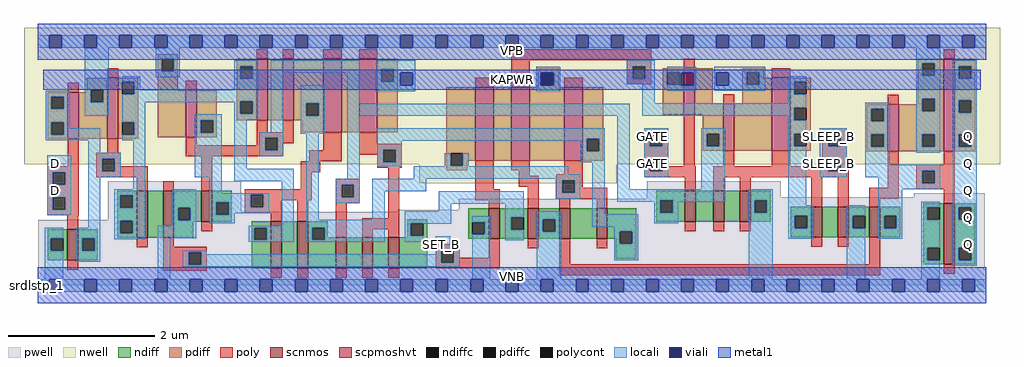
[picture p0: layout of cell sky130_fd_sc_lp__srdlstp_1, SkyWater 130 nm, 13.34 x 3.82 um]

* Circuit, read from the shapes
.subckt sky130_fd_sc_lp__srdlstp_1 D GATE SET_B SLEEP_B KAPWR VGND VNB VPB VPWR Q
XM1 n1 D VGND VNB sky130_fd_pr__nfet_01v8 w=0.42 l=0.15
XM2 n2 n1 n3 VNB sky130_fd_pr__nfet_01v8 w=0.64 l=0.15
XM3 VGND SET_B n2 VNB sky130_fd_pr__nfet_01v8 w=0.64 l=0.15
XM4 n4 n5 VGND VNB sky130_fd_pr__nfet_01v8 w=0.42 l=0.15
XM5 n6 n4 n3 VNB sky130_fd_pr__nfet_01v8 w=0.64 l=0.15
XM6 n7 n4 n6 VNB sky130_fd_pr__nfet_01v8 w=0.64 l=0.15
XM7 n8 n5 n7 VNB sky130_fd_pr__nfet_01v8 w=0.42 l=0.15
XM8 n9 n10 n8 VNB sky130_fd_pr__nfet_01v8 w=0.42 l=0.15
XM9 n11 n10 n9 VNB sky130_fd_pr__nfet_01v8 w=0.42 l=0.15
XM10 n11 SET_B VGND VNB sky130_fd_pr__nfet_01v8 w=0.42 l=0.15
XM11 VGND n12 n11 VNB sky130_fd_pr__nfet_01v8 w=0.42 l=0.15
XM12 n13 n7 VGND VNB sky130_fd_pr__nfet_01v8 w=0.42 l=0.15
XM13 n10 n7 n13 VNB sky130_fd_pr__nfet_01v8 w=0.42 l=0.15
XM14 n14 GATE n5 VNB sky130_fd_pr__nfet_01v8 w=0.42 l=0.15
XM15 n15 SLEEP_B n14 VNB sky130_fd_pr__nfet_01v8 w=0.42 l=0.15
XM16 VGND SLEEP_B n15 VNB sky130_fd_pr__nfet_01v8 w=0.42 l=0.15
XM17 n16 SLEEP_B n12 VNB sky130_fd_pr__nfet_01v8 w=0.42 l=0.15
XM18 VGND SLEEP_B n16 VNB sky130_fd_pr__nfet_01v8 w=0.42 l=0.15
XM19 n17 n7 VGND VNB sky130_fd_pr__nfet_01v8 w=0.42 l=0.15
XM20 Q n17 VGND VNB sky130_fd_pr__nfet_01v8 w=0.84 l=0.15
XM21 VPWR D n1 VPB sky130_fd_pr__pfet_01v8_hvt w=0.64 l=0.15
XM22 n3 n1 VPWR VPB sky130_fd_pr__pfet_01v8_hvt w=0.84 l=0.15
XM23 n4 n5 VPWR VPB sky130_fd_pr__pfet_01v8_hvt w=0.64 l=0.15
XM24 n18 n5 n3 VPB sky130_fd_pr__pfet_01v8_hvt w=0.84 l=0.15
XM25 n7 n5 n18 VPB sky130_fd_pr__pfet_01v8_hvt w=0.84 l=0.15
XM26 n19 n4 n7 VPB sky130_fd_pr__pfet_01v8_hvt w=1 l=0.25
XM27 KAPWR n10 n19 VPB sky130_fd_pr__pfet_01v8_hvt w=1 l=0.25
XM28 n20 SET_B n7 VPB sky130_fd_pr__pfet_01v8_hvt w=1 l=0.25
XM29 KAPWR n12 n20 VPB sky130_fd_pr__pfet_01v8_hvt w=1 l=0.25
XM30 n10 n7 KAPWR VPB sky130_fd_pr__pfet_01v8_hvt w=1 l=0.25
XM31 n5 GATE KAPWR VPB sky130_fd_pr__pfet_01v8_hvt w=0.64 l=0.15
XM32 KAPWR SLEEP_B n5 VPB sky130_fd_pr__pfet_01v8_hvt w=0.64 l=0.15
XM33 n12 SLEEP_B KAPWR VPB sky130_fd_pr__pfet_01v8_hvt w=1 l=0.25
XM34 VPWR n7 n17 VPB sky130_fd_pr__pfet_01v8_hvt w=0.64 l=0.15
XM35 Q n17 VPWR VPB sky130_fd_pr__pfet_01v8_hvt w=1.26 l=0.15
.ends

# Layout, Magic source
magic
tech sky130A
magscale 1 2
<< nwell >>
rect -38 331 2630 704
rect 1042 279 1582 331
<< pwell >>
rect 191 201 556 284
rect 1664 241 2030 284
rect 2394 241 2588 251
rect 1664 237 2588 241
rect 1151 207 2588 237
rect 984 201 2588 207
rect 191 179 2588 201
rect 1 49 2588 179
rect 0 0 2592 49
<< scnmos >>
rect 80 69 110 153
rect 270 130 300 258
rect 342 130 372 258
rect 447 174 477 258
rect 637 47 667 175
rect 709 47 739 175
rect 814 47 844 131
rect 886 47 916 131
rect 958 47 988 131
rect 1232 127 1262 211
rect 1339 127 1369 211
rect 1425 127 1455 211
rect 1527 127 1557 211
rect 1768 174 1798 258
rect 1846 174 1876 258
rect 1918 174 1948 258
rect 2114 131 2144 215
rect 2186 131 2216 215
rect 2272 131 2302 215
rect 2476 57 2506 225
<< scpmoshvt >>
rect 82 400 112 528
rect 189 400 219 568
rect 404 405 434 533
rect 598 451 628 619
rect 670 451 700 619
rect 780 419 830 619
rect 878 419 928 619
rect 1196 341 1246 541
rect 1294 341 1344 541
rect 1439 341 1489 541
rect 1765 466 1795 594
rect 1874 368 1904 496
rect 2006 368 2056 568
rect 2323 367 2353 495
rect 2476 367 2506 619
<< ndiff >>
rect 217 246 270 258
rect 217 212 225 246
rect 259 212 270 246
rect 217 176 270 212
rect 27 128 80 153
rect 27 94 35 128
rect 69 94 80 128
rect 27 69 80 94
rect 110 128 163 153
rect 217 142 225 176
rect 259 142 270 176
rect 217 130 270 142
rect 300 130 342 258
rect 372 212 447 258
rect 372 178 383 212
rect 417 178 447 212
rect 372 174 447 178
rect 477 227 530 258
rect 477 193 488 227
rect 522 193 530 227
rect 477 174 530 193
rect 372 130 425 174
rect 584 158 637 175
rect 110 94 121 128
rect 155 94 163 128
rect 584 124 592 158
rect 626 124 637 158
rect 110 69 163 94
rect 584 47 637 124
rect 667 47 709 175
rect 739 158 792 175
rect 739 124 750 158
rect 784 131 792 158
rect 1690 233 1768 258
rect 1010 169 1065 181
rect 1010 135 1019 169
rect 1053 135 1065 169
rect 1010 131 1065 135
rect 784 124 814 131
rect 739 47 814 124
rect 844 47 886 131
rect 916 47 958 131
rect 988 47 1065 131
rect 1177 173 1232 211
rect 1177 139 1187 173
rect 1221 139 1232 173
rect 1177 127 1232 139
rect 1262 186 1339 211
rect 1262 152 1294 186
rect 1328 152 1339 186
rect 1262 127 1339 152
rect 1369 180 1425 211
rect 1369 146 1380 180
rect 1414 146 1425 180
rect 1369 127 1425 146
rect 1455 127 1527 211
rect 1557 148 1636 211
rect 1690 199 1701 233
rect 1735 199 1768 233
rect 1690 174 1768 199
rect 1798 174 1846 258
rect 1876 174 1918 258
rect 1948 233 2004 258
rect 1948 199 1959 233
rect 1993 199 2004 233
rect 1948 174 2004 199
rect 2058 190 2114 215
rect 2058 156 2069 190
rect 2103 156 2114 190
rect 1557 127 1591 148
rect 1579 114 1591 127
rect 1625 114 1636 148
rect 2058 131 2114 156
rect 2144 131 2186 215
rect 2216 190 2272 215
rect 2216 156 2227 190
rect 2261 156 2272 190
rect 2216 131 2272 156
rect 2302 190 2358 215
rect 2302 156 2313 190
rect 2347 156 2358 190
rect 2302 131 2358 156
rect 2420 213 2476 225
rect 2420 179 2431 213
rect 2465 179 2476 213
rect 1579 72 1636 114
rect 2420 103 2476 179
rect 2420 69 2431 103
rect 2465 69 2476 103
rect 2420 57 2476 69
rect 2506 213 2562 225
rect 2506 179 2517 213
rect 2551 179 2562 213
rect 2506 103 2562 179
rect 2506 69 2517 103
rect 2551 69 2562 103
rect 2506 57 2562 69
<< pdiff >>
rect 328 619 382 631
rect 328 585 338 619
rect 372 585 382 619
rect 134 535 189 568
rect 134 528 144 535
rect 27 516 82 528
rect 27 482 37 516
rect 71 482 82 516
rect 27 446 82 482
rect 27 412 37 446
rect 71 412 82 446
rect 27 400 82 412
rect 112 501 144 528
rect 178 501 189 535
rect 112 400 189 501
rect 219 556 274 568
rect 219 522 230 556
rect 264 522 274 556
rect 219 446 274 522
rect 219 412 230 446
rect 264 412 274 446
rect 219 400 274 412
rect 328 533 382 585
rect 543 599 598 619
rect 543 565 553 599
rect 587 565 598 599
rect 328 405 404 533
rect 434 451 489 533
rect 543 503 598 565
rect 543 469 553 503
rect 587 469 598 503
rect 543 451 598 469
rect 628 451 670 619
rect 700 498 780 619
rect 700 464 734 498
rect 768 464 780 498
rect 700 451 780 464
rect 434 417 445 451
rect 479 417 489 451
rect 434 405 489 417
rect 722 419 780 451
rect 830 419 878 619
rect 928 590 984 619
rect 928 556 939 590
rect 973 556 984 590
rect 928 419 984 556
rect 1366 581 1424 593
rect 1366 547 1378 581
rect 1412 547 1424 581
rect 1366 541 1424 547
rect 2405 607 2476 619
rect 1708 582 1765 594
rect 1708 548 1720 582
rect 1754 548 1765 582
rect 1116 361 1196 541
rect 1116 327 1128 361
rect 1162 341 1196 361
rect 1246 341 1294 541
rect 1344 341 1439 541
rect 1489 400 1546 541
rect 1708 466 1765 548
rect 1795 496 1845 594
rect 1926 582 1984 594
rect 1926 548 1938 582
rect 1972 568 1984 582
rect 2405 573 2417 607
rect 2451 573 2476 607
rect 1972 548 2006 568
rect 1926 496 2006 548
rect 1795 466 1874 496
rect 1489 366 1500 400
rect 1534 366 1546 400
rect 1489 341 1546 366
rect 1162 327 1174 341
rect 1116 315 1174 327
rect 1817 414 1874 466
rect 1817 380 1829 414
rect 1863 380 1874 414
rect 1817 368 1874 380
rect 1904 368 2006 496
rect 2056 556 2113 568
rect 2056 522 2067 556
rect 2101 522 2113 556
rect 2056 485 2113 522
rect 2405 510 2476 573
rect 2405 495 2417 510
rect 2056 451 2067 485
rect 2101 451 2113 485
rect 2056 414 2113 451
rect 2266 483 2323 495
rect 2266 449 2278 483
rect 2312 449 2323 483
rect 2056 380 2067 414
rect 2101 380 2113 414
rect 2056 368 2113 380
rect 2266 413 2323 449
rect 2266 379 2278 413
rect 2312 379 2323 413
rect 2266 367 2323 379
rect 2353 476 2417 495
rect 2451 476 2476 510
rect 2353 413 2476 476
rect 2353 379 2417 413
rect 2451 379 2476 413
rect 2353 367 2476 379
rect 2506 599 2563 619
rect 2506 565 2517 599
rect 2551 565 2563 599
rect 2506 506 2563 565
rect 2506 472 2517 506
rect 2551 472 2563 506
rect 2506 413 2563 472
rect 2506 379 2517 413
rect 2551 379 2563 413
rect 2506 367 2563 379
<< ndiffc >>
rect 225 212 259 246
rect 35 94 69 128
rect 225 142 259 176
rect 383 178 417 212
rect 488 193 522 227
rect 121 94 155 128
rect 592 124 626 158
rect 750 124 784 158
rect 1019 135 1053 169
rect 1187 139 1221 173
rect 1294 152 1328 186
rect 1380 146 1414 180
rect 1701 199 1735 233
rect 1959 199 1993 233
rect 2069 156 2103 190
rect 1591 114 1625 148
rect 2227 156 2261 190
rect 2313 156 2347 190
rect 2431 179 2465 213
rect 2431 69 2465 103
rect 2517 179 2551 213
rect 2517 69 2551 103
<< pdiffc >>
rect 338 585 372 619
rect 37 482 71 516
rect 37 412 71 446
rect 144 501 178 535
rect 230 522 264 556
rect 230 412 264 446
rect 553 565 587 599
rect 553 469 587 503
rect 734 464 768 498
rect 445 417 479 451
rect 939 556 973 590
rect 1378 547 1412 581
rect 1720 548 1754 582
rect 1128 327 1162 361
rect 1938 548 1972 582
rect 2417 573 2451 607
rect 1500 366 1534 400
rect 1829 380 1863 414
rect 2067 522 2101 556
rect 2067 451 2101 485
rect 2278 449 2312 483
rect 2067 380 2101 414
rect 2278 379 2312 413
rect 2417 476 2451 510
rect 2417 379 2451 413
rect 2517 565 2551 599
rect 2517 472 2551 506
rect 2517 379 2551 413
<< poly >>
rect 598 619 628 645
rect 670 619 700 645
rect 780 619 830 645
rect 878 619 928 645
rect 189 568 219 594
rect 82 528 112 554
rect 404 533 434 559
rect 598 419 628 451
rect 670 419 700 451
rect 1294 615 1676 645
rect 1196 541 1246 567
rect 1294 541 1344 615
rect 1610 599 1676 615
rect 1439 541 1489 567
rect 1610 565 1626 599
rect 1660 565 1676 599
rect 1765 594 1795 620
rect 2476 619 2506 645
rect 1610 549 1676 565
rect 82 325 112 400
rect 189 362 219 400
rect 404 383 434 405
rect 598 403 700 419
rect 598 383 621 403
rect 404 369 621 383
rect 655 389 700 403
rect 655 369 671 389
rect 780 369 830 419
rect 25 309 112 325
rect 25 275 41 309
rect 75 275 112 309
rect 160 346 226 362
rect 404 353 671 369
rect 160 312 176 346
rect 210 326 226 346
rect 210 312 300 326
rect 160 296 300 312
rect 25 241 112 275
rect 270 258 300 296
rect 342 258 372 284
rect 447 258 477 353
rect 742 339 830 369
rect 878 387 928 419
rect 878 371 994 387
rect 878 357 944 371
rect 719 309 772 339
rect 928 337 944 357
rect 978 337 994 371
rect 928 321 994 337
rect 2006 568 2056 594
rect 1874 496 1904 522
rect 1657 414 1723 430
rect 1657 380 1673 414
rect 1707 380 1723 414
rect 1657 346 1723 380
rect 719 263 749 309
rect 25 207 41 241
rect 75 207 112 241
rect 25 191 112 207
rect 80 153 110 191
rect 566 247 749 263
rect 566 213 582 247
rect 616 233 749 247
rect 814 275 880 291
rect 814 241 830 275
rect 864 241 880 275
rect 616 213 667 233
rect 566 197 667 213
rect 637 175 667 197
rect 709 175 739 233
rect 814 225 880 241
rect 447 148 477 174
rect 270 104 300 130
rect 342 106 372 130
rect 342 90 462 106
rect 80 43 110 69
rect 342 56 412 90
rect 446 56 462 90
rect 342 40 462 56
rect 814 131 844 225
rect 958 183 988 321
rect 1196 263 1246 341
rect 1294 315 1344 341
rect 1314 299 1344 315
rect 1439 303 1489 341
rect 1314 269 1369 299
rect 1196 233 1262 263
rect 1232 211 1262 233
rect 1339 211 1369 269
rect 1417 287 1489 303
rect 1657 312 1673 346
rect 1707 326 1723 346
rect 1765 326 1795 466
rect 2323 495 2353 521
rect 2144 414 2211 430
rect 2144 380 2161 414
rect 2195 380 2211 414
rect 1874 326 1904 368
rect 2006 326 2056 368
rect 2144 346 2211 380
rect 2144 326 2161 346
rect 1707 312 1798 326
rect 1657 296 1798 312
rect 1417 253 1433 287
rect 1467 267 1489 287
rect 1467 253 1557 267
rect 1768 258 1798 296
rect 1846 312 2161 326
rect 2195 326 2211 346
rect 2195 312 2216 326
rect 1846 296 2216 312
rect 1846 258 1876 296
rect 1918 258 1948 296
rect 1417 237 1557 253
rect 1425 211 1455 237
rect 1527 211 1557 237
rect 886 153 988 183
rect 886 131 916 153
rect 958 131 988 153
rect 2114 215 2144 296
rect 2186 215 2216 296
rect 2323 267 2353 367
rect 2476 329 2506 367
rect 2272 237 2353 267
rect 2401 313 2506 329
rect 2401 279 2417 313
rect 2451 279 2506 313
rect 2401 263 2506 279
rect 2272 215 2302 237
rect 2476 225 2506 263
rect 1768 148 1798 174
rect 1846 148 1876 174
rect 1918 148 1948 174
rect 1087 96 1153 112
rect 1087 62 1103 96
rect 1137 76 1153 96
rect 1232 76 1262 127
rect 1339 101 1369 127
rect 1137 62 1262 76
rect 637 21 667 47
rect 709 21 739 47
rect 814 21 844 47
rect 886 21 916 47
rect 958 21 988 47
rect 1087 46 1262 62
rect 1425 57 1455 127
rect 1527 101 1557 127
rect 2114 105 2144 131
rect 2186 105 2216 131
rect 2272 57 2302 131
rect 1425 27 2302 57
rect 2476 31 2506 57
<< polycont >>
rect 1626 565 1660 599
rect 621 369 655 403
rect 41 275 75 309
rect 176 312 210 346
rect 944 337 978 371
rect 1673 380 1707 414
rect 41 207 75 241
rect 582 213 616 247
rect 830 241 864 275
rect 412 56 446 90
rect 1673 312 1707 346
rect 2161 380 2195 414
rect 1433 253 1467 287
rect 2161 312 2195 346
rect 2417 279 2451 313
rect 1103 62 1137 96
<< locali >>
rect 0 649 31 683
rect 65 649 127 683
rect 161 649 223 683
rect 257 649 319 683
rect 353 649 415 683
rect 449 649 511 683
rect 545 649 607 683
rect 641 649 703 683
rect 737 649 799 683
rect 833 649 895 683
rect 929 649 991 683
rect 1025 649 1087 683
rect 1121 649 1183 683
rect 1217 649 1279 683
rect 1313 649 1375 683
rect 1409 649 1471 683
rect 1505 649 1567 683
rect 1601 649 1663 683
rect 1697 649 1759 683
rect 1793 649 1855 683
rect 1889 649 1951 683
rect 1985 649 2047 683
rect 2081 649 2143 683
rect 2177 649 2239 683
rect 2273 649 2335 683
rect 2369 649 2431 683
rect 2465 649 2527 683
rect 2561 649 2592 683
rect 128 535 194 649
rect 322 619 388 649
rect 322 585 338 619
rect 372 585 388 619
rect 21 516 87 532
rect 21 482 37 516
rect 71 482 87 516
rect 21 446 87 482
rect 128 501 144 535
rect 178 501 194 535
rect 128 464 194 501
rect 230 556 280 572
rect 322 569 388 585
rect 537 599 603 615
rect 264 535 280 556
rect 537 565 553 599
rect 587 565 603 599
rect 537 535 603 565
rect 264 522 603 535
rect 230 503 603 522
rect 230 501 553 503
rect 21 412 37 446
rect 71 430 87 446
rect 230 446 294 501
rect 537 469 553 501
rect 587 469 603 503
rect 71 412 171 430
rect 21 396 171 412
rect 264 412 294 446
rect 230 396 294 412
rect 137 362 171 396
rect 25 309 91 356
rect 25 275 41 309
rect 75 275 91 309
rect 25 241 91 275
rect 25 207 41 241
rect 75 207 91 241
rect 25 191 91 207
rect 137 346 226 362
rect 137 312 176 346
rect 210 312 226 346
rect 137 296 226 312
rect 137 157 171 296
rect 260 262 294 396
rect 429 451 503 467
rect 429 417 445 451
rect 479 417 503 451
rect 429 296 503 417
rect 19 128 69 157
rect 19 94 35 128
rect 19 17 69 94
rect 105 128 171 157
rect 105 94 121 128
rect 155 94 171 128
rect 209 246 294 262
rect 209 212 225 246
rect 259 212 294 246
rect 209 176 294 212
rect 209 142 225 176
rect 259 142 294 176
rect 367 212 433 262
rect 367 178 383 212
rect 417 178 433 212
rect 367 163 433 178
rect 469 251 503 296
rect 537 453 603 469
rect 637 581 880 615
rect 537 319 571 453
rect 637 419 671 581
rect 605 403 671 419
rect 718 498 784 547
rect 718 464 734 498
rect 768 464 784 498
rect 718 415 784 464
rect 846 497 880 581
rect 923 590 1031 615
rect 1610 599 1686 615
rect 923 556 939 590
rect 973 581 1031 590
rect 973 556 991 581
rect 923 547 991 556
rect 1025 547 1031 581
rect 923 531 1031 547
rect 1362 581 1428 597
rect 1362 547 1375 581
rect 1412 547 1428 581
rect 1610 565 1626 599
rect 1660 565 1686 599
rect 2401 607 2467 649
rect 1610 549 1686 565
rect 1362 531 1428 547
rect 1652 498 1686 549
rect 1720 582 1799 598
rect 1754 581 1799 582
rect 1754 548 1759 581
rect 1720 547 1759 548
rect 1793 547 1799 581
rect 1720 532 1799 547
rect 1849 582 1988 598
rect 1849 581 1938 582
rect 1849 547 1855 581
rect 1889 548 1938 581
rect 1972 548 1988 582
rect 2401 573 2417 607
rect 2451 573 2467 607
rect 1889 547 1988 548
rect 1849 532 1988 547
rect 2051 556 2101 572
rect 2051 522 2067 556
rect 2051 498 2101 522
rect 2401 510 2467 573
rect 846 463 1618 497
rect 1652 485 2101 498
rect 1652 464 2067 485
rect 605 369 621 403
rect 655 369 671 403
rect 605 353 671 369
rect 537 285 700 319
rect 469 247 632 251
rect 469 227 582 247
rect 469 193 488 227
rect 522 213 582 227
rect 616 213 632 247
rect 522 197 632 213
rect 522 193 538 197
rect 469 170 538 193
rect 666 163 700 285
rect 209 126 294 142
rect 328 129 433 163
rect 576 158 700 163
rect 105 65 171 94
rect 328 17 362 129
rect 576 124 592 158
rect 626 124 700 158
rect 576 119 700 124
rect 734 179 768 415
rect 846 291 880 463
rect 928 400 1550 429
rect 928 395 1500 400
rect 928 371 994 395
rect 928 337 944 371
rect 978 337 994 371
rect 1484 366 1500 395
rect 1534 366 1550 400
rect 928 325 994 337
rect 1112 327 1128 361
rect 1162 327 1178 361
rect 1484 337 1550 366
rect 1112 325 1178 327
rect 1028 303 1450 325
rect 1028 291 1482 303
rect 814 275 880 291
rect 814 241 830 275
rect 864 241 880 275
rect 814 225 880 241
rect 914 257 1062 291
rect 1416 287 1482 291
rect 914 179 948 257
rect 1096 223 1328 257
rect 1416 253 1433 287
rect 1467 253 1482 287
rect 1416 237 1482 253
rect 1096 202 1130 223
rect 734 158 948 179
rect 734 124 750 158
rect 784 124 948 158
rect 734 119 948 124
rect 1003 169 1130 202
rect 1003 135 1019 169
rect 1053 168 1130 169
rect 1187 173 1237 189
rect 1003 119 1053 135
rect 1221 139 1237 173
rect 1087 112 1127 134
rect 1087 96 1153 112
rect 396 90 462 95
rect 396 56 412 90
rect 446 85 462 90
rect 1087 85 1103 96
rect 446 62 1103 85
rect 1137 62 1153 96
rect 446 56 1153 62
rect 396 51 1153 56
rect 1187 17 1237 139
rect 1278 186 1328 223
rect 1278 152 1294 186
rect 1278 123 1328 152
rect 1364 180 1430 203
rect 1364 146 1380 180
rect 1414 146 1430 180
rect 1516 194 1550 337
rect 1584 262 1618 463
rect 2051 451 2067 464
rect 1657 414 1723 430
rect 1657 380 1673 414
rect 1707 380 1723 414
rect 1657 346 1723 380
rect 1657 312 1673 346
rect 1707 312 1723 346
rect 1657 296 1723 312
rect 1813 414 1879 430
rect 1813 380 1829 414
rect 1863 380 1879 414
rect 1813 262 1879 380
rect 2051 414 2101 451
rect 2262 483 2328 499
rect 2262 449 2278 483
rect 2312 449 2328 483
rect 2051 380 2067 414
rect 1584 233 1879 262
rect 1584 228 1701 233
rect 1685 199 1701 228
rect 1735 228 1879 233
rect 1943 233 2009 262
rect 1735 199 1751 228
rect 1516 160 1641 194
rect 1685 170 1751 199
rect 1943 199 1959 233
rect 1993 199 2009 233
rect 1364 17 1430 146
rect 1575 148 1641 160
rect 1575 114 1591 148
rect 1625 114 1641 148
rect 1575 68 1641 114
rect 1943 17 2009 199
rect 2051 219 2101 380
rect 2137 414 2211 430
rect 2137 380 2161 414
rect 2195 380 2211 414
rect 2137 346 2211 380
rect 2137 312 2161 346
rect 2195 312 2211 346
rect 2137 296 2211 312
rect 2262 413 2328 449
rect 2262 379 2278 413
rect 2312 379 2328 413
rect 2262 329 2328 379
rect 2401 476 2417 510
rect 2451 476 2467 510
rect 2401 413 2467 476
rect 2401 379 2417 413
rect 2451 379 2467 413
rect 2401 363 2467 379
rect 2501 599 2567 615
rect 2501 565 2517 599
rect 2551 565 2567 599
rect 2501 506 2567 565
rect 2501 472 2517 506
rect 2551 472 2567 506
rect 2501 413 2567 472
rect 2501 379 2517 413
rect 2551 379 2567 413
rect 2262 313 2467 329
rect 2262 295 2417 313
rect 2297 279 2417 295
rect 2451 279 2467 313
rect 2297 263 2467 279
rect 2051 190 2119 219
rect 2051 156 2069 190
rect 2103 156 2119 190
rect 2051 127 2119 156
rect 2211 190 2261 219
rect 2211 156 2227 190
rect 2211 17 2261 156
rect 2297 190 2363 263
rect 2297 156 2313 190
rect 2347 156 2363 190
rect 2297 127 2363 156
rect 2415 213 2465 229
rect 2415 179 2431 213
rect 2415 103 2465 179
rect 2415 69 2431 103
rect 2415 17 2465 69
rect 2501 213 2567 379
rect 2501 179 2517 213
rect 2551 179 2567 213
rect 2501 103 2567 179
rect 2501 69 2517 103
rect 2551 69 2567 103
rect 2501 53 2567 69
rect 0 -17 31 17
rect 65 -17 127 17
rect 161 -17 223 17
rect 257 -17 319 17
rect 353 -17 415 17
rect 449 -17 511 17
rect 545 -17 607 17
rect 641 -17 703 17
rect 737 -17 799 17
rect 833 -17 895 17
rect 929 -17 991 17
rect 1025 -17 1087 17
rect 1121 -17 1183 17
rect 1217 -17 1279 17
rect 1313 -17 1375 17
rect 1409 -17 1471 17
rect 1505 -17 1567 17
rect 1601 -17 1663 17
rect 1697 -17 1759 17
rect 1793 -17 1855 17
rect 1889 -17 1951 17
rect 1985 -17 2047 17
rect 2081 -17 2143 17
rect 2177 -17 2239 17
rect 2273 -17 2335 17
rect 2369 -17 2431 17
rect 2465 -17 2527 17
rect 2561 -17 2592 17
<< viali >>
rect 31 649 65 683
rect 127 649 161 683
rect 223 649 257 683
rect 319 649 353 683
rect 415 649 449 683
rect 511 649 545 683
rect 607 649 641 683
rect 703 649 737 683
rect 799 649 833 683
rect 895 649 929 683
rect 991 649 1025 683
rect 1087 649 1121 683
rect 1183 649 1217 683
rect 1279 649 1313 683
rect 1375 649 1409 683
rect 1471 649 1505 683
rect 1567 649 1601 683
rect 1663 649 1697 683
rect 1759 649 1793 683
rect 1855 649 1889 683
rect 1951 649 1985 683
rect 2047 649 2081 683
rect 2143 649 2177 683
rect 2239 649 2273 683
rect 2335 649 2369 683
rect 2431 649 2465 683
rect 2527 649 2561 683
rect 991 547 1025 581
rect 1375 547 1378 581
rect 1378 547 1409 581
rect 1759 547 1793 581
rect 1855 547 1889 581
rect 31 -17 65 17
rect 127 -17 161 17
rect 223 -17 257 17
rect 319 -17 353 17
rect 415 -17 449 17
rect 511 -17 545 17
rect 607 -17 641 17
rect 703 -17 737 17
rect 799 -17 833 17
rect 895 -17 929 17
rect 991 -17 1025 17
rect 1087 -17 1121 17
rect 1183 -17 1217 17
rect 1279 -17 1313 17
rect 1375 -17 1409 17
rect 1471 -17 1505 17
rect 1567 -17 1601 17
rect 1663 -17 1697 17
rect 1759 -17 1793 17
rect 1855 -17 1889 17
rect 1951 -17 1985 17
rect 2047 -17 2081 17
rect 2143 -17 2177 17
rect 2239 -17 2273 17
rect 2335 -17 2369 17
rect 2431 -17 2465 17
rect 2527 -17 2561 17
<< metal1 >>
rect 0 683 2592 715
rect 0 649 31 683
rect 65 649 127 683
rect 161 649 223 683
rect 257 649 319 683
rect 353 649 415 683
rect 449 649 511 683
rect 545 649 607 683
rect 641 649 703 683
rect 737 649 799 683
rect 833 649 895 683
rect 929 649 991 683
rect 1025 649 1087 683
rect 1121 649 1183 683
rect 1217 649 1279 683
rect 1313 649 1375 683
rect 1409 649 1471 683
rect 1505 649 1567 683
rect 1601 649 1663 683
rect 1697 649 1759 683
rect 1793 649 1855 683
rect 1889 649 1951 683
rect 1985 649 2047 683
rect 2081 649 2143 683
rect 2177 649 2239 683
rect 2273 649 2335 683
rect 2369 649 2431 683
rect 2465 649 2527 683
rect 2561 649 2592 683
rect 0 617 2592 649
rect 14 581 2578 589
rect 14 547 991 581
rect 1025 547 1375 581
rect 1409 547 1759 581
rect 1793 547 1855 581
rect 1889 547 2578 581
rect 14 535 2578 547
rect 0 17 2592 49
rect 0 -17 31 17
rect 65 -17 127 17
rect 161 -17 223 17
rect 257 -17 319 17
rect 353 -17 415 17
rect 449 -17 511 17
rect 545 -17 607 17
rect 641 -17 703 17
rect 737 -17 799 17
rect 833 -17 895 17
rect 929 -17 991 17
rect 1025 -17 1087 17
rect 1121 -17 1183 17
rect 1217 -17 1279 17
rect 1313 -17 1375 17
rect 1409 -17 1471 17
rect 1505 -17 1567 17
rect 1601 -17 1663 17
rect 1697 -17 1759 17
rect 1793 -17 1855 17
rect 1889 -17 1951 17
rect 1985 -17 2047 17
rect 2081 -17 2143 17
rect 2177 -17 2239 17
rect 2273 -17 2335 17
rect 2369 -17 2431 17
rect 2465 -17 2527 17
rect 2561 -17 2592 17
rect 0 -49 2592 -17
<< labels >>
flabel pwell s 0 0 2592 49 0 FreeSans 200 0 0 0 VNB
port 7 nsew ground bidirectional
flabel nwell s 0 617 2592 666 0 FreeSans 200 0 0 0 VPB
port 8 nsew power bidirectional
rlabel comment s 0 0 0 0 4 srdlstp_1
flabel metal1 s 14 535 2578 589 0 FreeSans 200 0 0 0 KAPWR
port 5 nsew power bidirectional
flabel metal1 s 0 617 2592 666 0 FreeSans 340 0 0 0 VPWR
port 9 nsew power bidirectional
flabel metal1 s 0 0 2592 49 0 FreeSans 340 0 0 0 VGND
port 6 nsew ground bidirectional
flabel locali s 1663 316 1697 350 0 FreeSans 340 0 0 0 GATE
port 2 nsew clock input
flabel locali s 1663 390 1697 424 0 FreeSans 340 0 0 0 GATE
port 2 nsew clock input
flabel locali s 2143 316 2177 350 0 FreeSans 340 0 0 0 SLEEP_B
port 4 nsew signal input
flabel locali s 2143 390 2177 424 0 FreeSans 340 0 0 0 SLEEP_B
port 4 nsew signal input
flabel locali s 31 242 65 276 0 FreeSans 340 0 0 0 D
port 1 nsew signal input
flabel locali s 31 316 65 350 0 FreeSans 340 0 0 0 D
port 1 nsew signal input
flabel locali s 1087 94 1121 128 0 FreeSans 340 0 0 0 SET_B
port 3 nsew signal input
flabel locali s 2527 94 2561 128 0 FreeSans 340 0 0 0 Q
port 10 nsew signal output
flabel locali s 2527 168 2561 202 0 FreeSans 340 0 0 0 Q
port 10 nsew signal output
flabel locali s 2527 242 2561 276 0 FreeSans 340 0 0 0 Q
port 10 nsew signal output
flabel locali s 2527 316 2561 350 0 FreeSans 340 0 0 0 Q
port 10 nsew signal output
flabel locali s 2527 390 2561 424 0 FreeSans 340 0 0 0 Q
port 10 nsew signal output
<< properties >>
string LEFsite unit
string LEFclass CORE
string FIXED_BBOX 0 0 2592 666
string GDS_FILE $PDKPATH/libs.ref/sky130_fd_sc_lp/gds/sky130_fd_sc_lp.gds
string LEFsymmetry X Y R90
string GDS_END 3832836
string GDS_START 3815366
<< end >>
